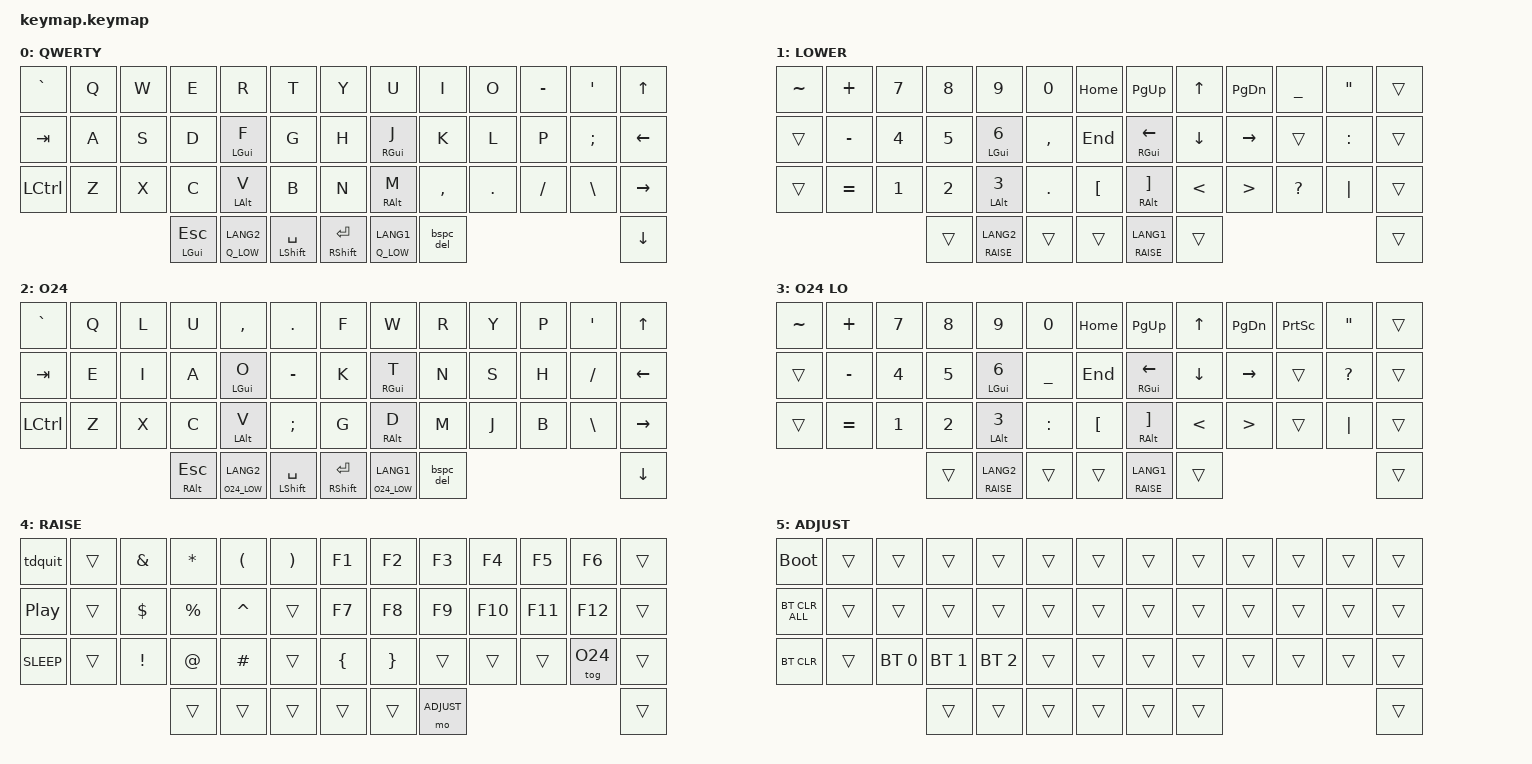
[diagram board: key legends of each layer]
#include <behaviors.dtsi>
#include <dt-bindings/zmk/bt.h>
#include <dt-bindings/zmk/keys.h>

#define QWERTY  0
#define Q_LOW   1
#define O24     2
#define O24_LOW 3
#define RAISE   4
#define ADJUST  5

/ {
    behaviors {
        hm: homerow_mods {
            compatible = "zmk,behavior-hold-tap";
            #binding-cells = <2>;
            bindings = <&kp>, <&kp>;

            flavor = "tap-preferred";
            tapping-term-ms = <180>;
            quick-tap-ms = <180>;
            require-prior-idle-ms = <125>;
        };

        bspc_del: backspace_delete {
            compatible = "zmk,behavior-mod-morph";
            display-name = "Backspace/Delete";
            #binding-cells = <0>;
            bindings = <&kp BACKSPACE>, <&kp DELETE>;
            mods = <(MOD_LSFT|MOD_RSFT)>;
        };

        tdquit: tap_dance_quit {
            compatible = "zmk,behavior-tap-dance";
            display-name = "Tap Dance/App Quit";
            #binding-cells = <0>;
            bindings = <&kp TILDE>, <&kp LA(F4)>;
            tapping-term-ms = <180>;
        };
    };

    keymap {
        compatible = "zmk,keymap";

        qwerty_layer {
            display-name = "QWERTY";
            bindings = <
&kp GRAVE           &kp Q               &kp W               &kp E               &kp R               &kp T               &kp Y               &kp U               &kp I               &kp O               &kp MINUS           &kp SQT             &kp UP
&kp TAB             &kp A               &kp S               &kp D               &hm LGUI F          &kp G               &kp H               &hm RGUI J          &kp K               &kp L               &kp P               &kp SEMI            &kp LEFT
&kp LCTRL           &kp Z               &kp X               &kp C               &hm LALT V          &kp B               &kp N               &hm RALT M          &kp COMMA           &kp DOT             &kp FSLH            &kp BSLH            &kp RIGHT
                                                            &hm LGUI ESC        &lt Q_LOW LANG2     &hm LSHIFT SPACE    &hm RSHIFT ENTER    &lt Q_LOW LANG1     &bspc_del                                                                       &kp DOWN
            >;
        };

        qwerty_lower_layer {
            display-name = "LOWER";
            bindings = <
&kp TILDE           &kp PLUS            &kp N7              &kp N8              &kp N9              &kp N0              &kp HOME            &kp PG_UP           &kp UP              &kp PG_DN           &kp UNDER           &kp DQT             &trans
&trans              &kp MINUS           &kp N4              &kp N5              &hm LGUI N6         &kp COMMA           &kp END             &hm RGUI LEFT       &kp DOWN            &kp RIGHT           &trans              &kp COLON           &trans
&trans              &kp EQUAL           &kp N1              &kp N2              &hm LALT N3         &kp DOT             &kp LBKT            &hm RALT RBKT       &kp LT              &kp GT              &kp QMARK           &kp PIPE            &trans
                                                            &trans              &lt RAISE LANG2     &trans              &trans              &lt RAISE LANG1     &trans                                                                          &trans
            >;
        };

        o24_layer {
            display-name = "O24";
            bindings = <
&kp GRAVE           &kp Q               &kp L               &kp U               &kp COMMA           &kp DOT             &kp F               &kp W               &kp R               &kp Y               &kp P               &kp SQT             &kp UP
&kp TAB             &kp E               &kp I               &kp A               &hm LGUI O          &kp MINUS           &kp K               &hm RGUI T          &kp N               &kp S               &kp H               &kp FSLH            &kp LEFT
&kp LCTRL           &kp Z               &kp X               &kp C               &hm LALT V          &kp SEMI            &kp G               &hm RALT D          &kp M               &kp J               &kp B               &kp BSLH            &kp RIGHT
                                                            &hm RALT ESC        &lt O24_LOW LANG2   &hm LSHIFT SPACE    &hm RSHIFT ENTER    &lt O24_LOW LANG1   &bspc_del                                                                       &kp DOWN
            >;
        };

        o24_lower_layer {
            display-name = "O24 LO";
            bindings = <
&kp TILDE           &kp PLUS            &kp N7              &kp N8              &kp N9              &kp N0              &kp HOME            &kp PG_UP           &kp UP              &kp PG_DN           &kp PSCRN           &kp DQT             &trans
&trans              &kp MINUS           &kp N4              &kp N5              &hm LGUI N6         &kp UNDER           &kp END             &hm RGUI LEFT       &kp DOWN            &kp RIGHT           &trans              &kp QMARK           &trans
&trans              &kp EQUAL           &kp N1              &kp N2              &hm LALT N3         &kp COLON           &kp LBKT            &hm RALT RBKT       &kp LT              &kp GT              &trans              &kp PIPE            &trans
                                                            &trans              &lt RAISE LANG2     &trans              &trans              &lt RAISE LANG1     &trans                                                                          &trans
            >;
        };

        raise_layer {
            display-name = "RAISE";
            bindings = <
&tdquit             &trans              &kp AMPS            &kp ASTRK           &kp LPAR            &kp RPAR            &kp F1              &kp F2              &kp F3              &kp F4              &kp F5              &kp F6              &trans
&kp C_PLAY_PAUSE    &trans              &kp DLLR            &kp PRCNT           &kp CARET           &trans              &kp F7              &kp F8              &kp F9              &kp F10             &kp F11             &kp F12             &trans
&kp K_SLEEP         &trans              &kp EXCL            &kp AT              &kp HASH            &trans              &kp LBRC            &kp RBRC            &trans              &trans              &trans              &tog O24            &trans
                                                            &trans              &trans              &trans              &trans              &trans              &mo ADJUST                                                                      &trans
            >;
        };

        adjust_layer {
            display-name = "ADJUST";
            bindings = <
&bootloader         &trans              &trans              &trans              &trans              &trans              &trans              &trans              &trans              &trans              &trans              &trans              &trans
&bt BT_CLR_ALL      &trans              &trans              &trans              &trans              &trans              &trans              &trans              &trans              &trans              &trans              &trans              &trans
&bt BT_CLR          &trans              &bt BT_SEL 0        &bt BT_SEL 1        &bt BT_SEL 2        &trans              &trans              &trans              &trans              &trans              &trans              &trans              &trans
                                                            &trans              &trans              &trans              &trans              &trans              &trans                                                                          &trans
            >;
        };
    };
};
